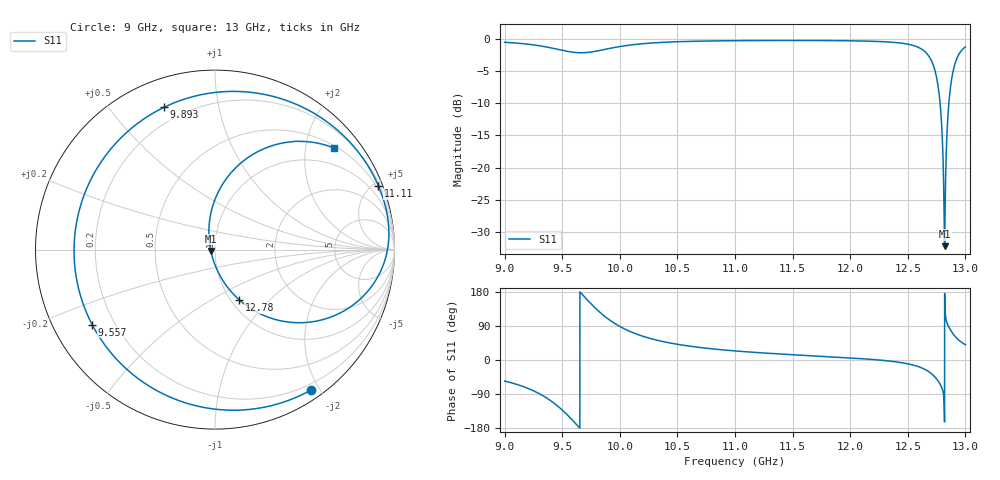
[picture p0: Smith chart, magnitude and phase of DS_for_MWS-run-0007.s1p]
! TOUCHSTONE file generated by CST DESIGN STUDIO
! Date and time: Tue Feb  4 14:32:46 2025
! Project name: C:\Work\MatlabApps\UnitCellOptimizationMatlab\CST\unitcell.cst
! Tree item: Tasks\Sweep1\SPara1\S-Parameters
! Header version: 2024
! Port assignment regex: !\s*Touchstone port\s*([0-9]+)\s*=\s*(CST MWS port|CST DES external port|CST DES block port)\s*(.+)\s* \(\"(.*)\"\)(\s*mode\s*([0-9]+))?.*
! Touchstone port assignment:
! Touchstone port 1 = CST DES external port 1 ("")
# GHz S MA R 50
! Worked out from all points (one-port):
!   4001 points, 9 GHz to 13 GHz, reference 50 ohm
!   lowest |S11| = -32.3 dB at 12.82 GHz (marker M1), VSWR 1.05, Z = 47.7 - j0.666 ohm
!   |S11| at or under -10 dB: 12.78 GHz to 12.86 GHz (75.8 MHz wide, 0.591 % of centre)
!   S11 on the Smith chart (normalised r, x): 9 GHz: 0.12, -1.90; 9.557 GHz: 0.12, -0.28; 9.893 GHz: 0.13, +0.70; 11.11 GHz: 0.34, +5.29; 12.78 GHz: 1.09, -0.68; 13 GHz: 0.55, +2.62
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9  0.9479 -55.5
9.162  0.9242 -70.2
9.313  0.8874 -90.9
9.412  0.8538 -110.0
9.5  0.8208 -131.9
9.557  0.802 -148.6
9.632  0.7868 -172.8
9.704  0.7876 163.1
9.801  0.8102 133.1
9.893  0.8424 109.6
10  0.8781 88.6
10.221  0.9277 60.7
10.5  0.9571 41.4
11  0.9755 23.9
11.112  0.9772 21.3
11.5  0.9794 14.0
12  0.9736 5.5
12.5  0.9162 -10.1
12.664  0.7768 -27.3
12.738  0.5607 -45.7
12.781  0.312 -64.2
12.806  0.1169 -83.6
12.819  0.02438 -163.4
12.832  0.1148 107.3
12.856  0.3147 87.3
12.882  0.4982 73.8
12.928  0.716 56.5
13  0.8726 40.4
